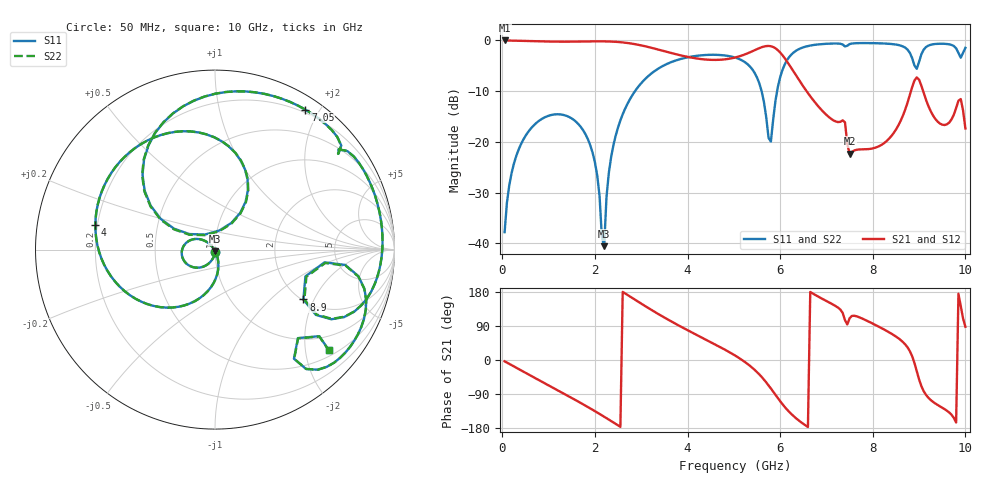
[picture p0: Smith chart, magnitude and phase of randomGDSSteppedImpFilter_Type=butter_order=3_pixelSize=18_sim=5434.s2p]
! freq	dB(S11)	phase(S11)	dB(S12)	phase(S12)
!  dB(S21)	phase(S21)	dB(S22)	phase(S22)
!S-par simulation data
#  GHz  S  DB  R 50
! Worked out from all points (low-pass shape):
!   200 points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, 50 MHz to 10 GHz, reference 50 ohm
!   highest |S21| = -0.01 dB at 50 MHz (marker M1); lowest = -22.3 dB at 7.5 GHz (marker M2)
!   |S21| within 3 dB of the highest: start of sweep to 3.882 GHz; 5.163 GHz to 6.057 GHz (894.4 MHz wide, 15.9 % of centre)
!   lowest |S11| = -40.6 dB at 2.2 GHz (marker M3), VSWR 1.02, Z = 49.9 - j0.935 ohm
!   |S11| at or under -10 dB: start of sweep to 2.867 GHz; 5.6 GHz to 5.935 GHz (335 MHz wide, 5.81 % of centre)
!   |S22| runs from -40.8 to -0.5 dB; largest |S21 - S12| = 0
!   S11 on the Smith chart (normalised r, x): 50 MHz: 1.00, -0.03; 4 GHz: 0.19, +0.10; 7.05 GHz: 0.16, +1.83; 8.9 GHz: 2.03, -1.66; 10 GHz: 0.64, -2.50
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0.05  -37.80 -91.4  -0.01 -3.5  -0.01 -3.5  -37.80 -91.5
0.25  -24.32 -106.8  -0.05 -17.0  -0.05 -17.0  -24.32 -106.8
0.6  -17.55 -130.9  -0.13 -40.4  -0.13 -40.4  -17.55 -130.9
1.75  -17.77 153.0  -0.21 -117.2  -0.21 -117.2  -17.77 152.9
2  -24.03 137.1  -0.18 -135.0  -0.18 -135.0  -24.04 136.7
2.2  -40.56 -93.2  -0.19 -149.7  -0.19 -149.7  -40.75 -90.3
2.3  -26.15 -72.8  -0.21 -157.2  -0.21 -157.2  -26.15 -72.3
2.5  -17.13 -85.2  -0.31 -172.5  -0.31 -172.5  -17.13 -85.0
3.4  -5.38 -151.9  -1.88 119.1  -1.88 119.1  -5.38 -151.8
4  -3.34 168.3  -3.24 78.7  -3.24 78.7  -3.34 168.3
5.05  -3.45 101.7  -3.32 10.1  -3.32 10.1  -3.45 101.6
5.55  -8.46 60.9  -1.53 -38.0  -1.53 -38.0  -8.48 60.6
5.75  -19.24 77.2  -1.09 -67.0  -1.09 -67.0  -19.47 76.2
5.85  -15.54 148.8  -1.30 -83.6  -1.30 -83.6  -15.65 149.8
6.15  -3.88 128.1  -4.18 -131.0  -4.18 -131.0  -3.89 128.5
6.7  -0.94 78.9  -11.61 175.8  -11.61 175.8  -0.94 79.0
7.05  -0.65 57.1  -15.09 152.4  -15.09 152.4  -0.65 57.2
7.5  -0.73 36.6  -22.30 110.1  -22.30 110.1  -0.74 36.8
8.35  -0.67 -4.8  -19.38 73.3  -19.38 73.3  -0.67 -4.7
8.9  -4.95 -29.4  -7.90 -7.8  -7.90 -7.8  -4.87 -29.2
9.2  -1.03 -18.5  -12.92 -99.5  -12.92 -99.5  -1.02 -18.6
10  -1.47 -41.4  -17.36 87.6  -17.36 87.6  -1.47 -41.5
